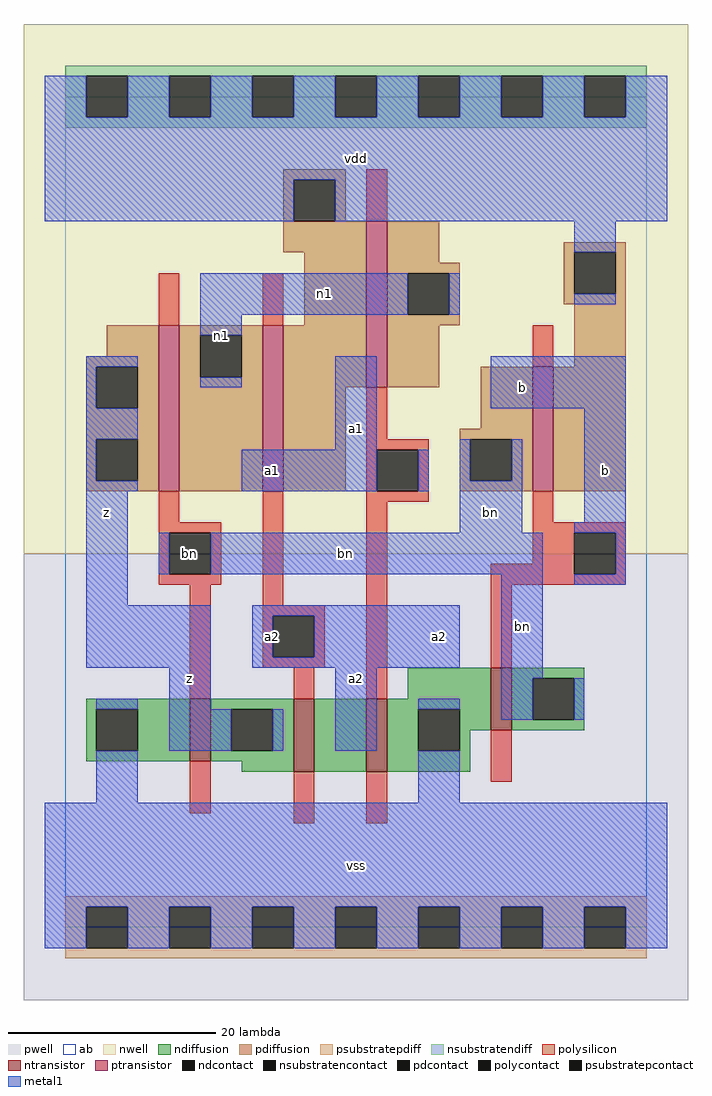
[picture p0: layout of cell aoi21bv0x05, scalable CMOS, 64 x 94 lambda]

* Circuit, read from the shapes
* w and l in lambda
.subckt aoi21bv0x05 a1 a2 b bn n1 vdd vss z
M1 z bn vss vss nfet w=6 l=2
M2 n2 a2 z vss nfet w=7 l=2
M3 vss a1 n2 vss nfet w=7 l=2
M4 bn b vss vss nfet w=6 l=2
M5 n1 bn z vdd pfet w=16 l=2
M6 vdd a2 n1 vdd pfet w=16 l=2
M7 n1 a1 vdd vdd pfet w=16 l=2
M8 vdd b bn vdd pfet w=12 l=2
.ends

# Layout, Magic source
magic
tech scmos
<< ab >>
rect 0 0 56 80
<< pwell >>
rect -4 -7 60 36
<< nwell >>
rect -4 36 60 87
<< polysilicon >>
rect 29 68 31 73
rect 9 58 11 63
rect 19 58 21 63
rect 45 54 47 58
rect 29 47 31 52
rect 29 46 35 47
rect 29 42 30 46
rect 34 42 35 46
rect 9 39 11 42
rect 9 38 15 39
rect 9 34 10 38
rect 14 34 15 38
rect 9 33 15 34
rect 12 22 14 33
rect 19 31 21 42
rect 29 41 35 42
rect 19 30 25 31
rect 19 26 20 30
rect 24 26 25 30
rect 19 25 25 26
rect 22 22 24 25
rect 29 22 31 41
rect 45 39 47 42
rect 45 38 54 39
rect 45 35 49 38
rect 41 34 49 35
rect 53 34 54 38
rect 41 33 54 34
rect 41 25 43 33
rect 12 11 14 16
rect 22 10 24 15
rect 29 10 31 15
rect 41 14 43 19
<< ndiffusion >>
rect 33 22 41 25
rect 2 21 12 22
rect 2 17 3 21
rect 7 17 12 21
rect 2 16 12 17
rect 14 21 22 22
rect 14 17 16 21
rect 20 17 22 21
rect 14 16 22 17
rect 17 15 22 16
rect 24 15 29 22
rect 31 21 41 22
rect 31 17 34 21
rect 38 19 41 21
rect 43 24 50 25
rect 43 20 45 24
rect 49 20 50 24
rect 43 19 50 20
rect 38 17 39 19
rect 31 15 39 17
<< pdiffusion >>
rect 21 72 27 73
rect 21 68 22 72
rect 26 68 27 72
rect 21 65 29 68
rect 23 58 29 65
rect 4 55 9 58
rect 2 54 9 55
rect 2 50 3 54
rect 7 50 9 54
rect 2 47 9 50
rect 2 43 3 47
rect 7 43 9 47
rect 2 42 9 43
rect 11 57 19 58
rect 11 53 13 57
rect 17 53 19 57
rect 11 42 19 53
rect 21 52 29 58
rect 31 64 36 68
rect 48 65 54 66
rect 31 63 38 64
rect 31 59 33 63
rect 37 59 38 63
rect 48 61 49 65
rect 53 61 54 65
rect 48 60 54 61
rect 31 58 38 59
rect 31 52 36 58
rect 49 54 54 60
rect 21 42 27 52
rect 40 48 45 54
rect 38 47 45 48
rect 38 43 39 47
rect 43 43 45 47
rect 38 42 45 43
rect 47 42 54 54
<< metal1 >>
rect -2 78 2 82
rect 6 78 10 82
rect 14 78 18 82
rect 22 78 26 82
rect 30 78 34 82
rect 38 78 42 82
rect 46 78 50 82
rect 54 78 58 82
rect -2 72 58 78
rect -2 68 22 72
rect 26 68 58 72
rect 49 65 53 68
rect 13 59 33 63
rect 37 59 38 63
rect 49 60 53 61
rect 13 57 17 59
rect 2 54 7 55
rect 2 50 3 54
rect 13 52 17 53
rect 2 47 7 50
rect 2 43 3 47
rect 26 46 30 55
rect 41 50 54 55
rect 2 42 7 43
rect 17 42 30 46
rect 34 42 35 46
rect 38 43 39 47
rect 43 43 44 47
rect 2 31 6 42
rect 38 38 44 43
rect 50 39 54 50
rect 49 38 54 39
rect 9 34 10 38
rect 14 34 46 38
rect 2 25 14 31
rect 18 30 38 31
rect 18 26 20 30
rect 24 26 38 30
rect 18 25 38 26
rect 3 21 7 22
rect 10 21 14 25
rect 10 17 16 21
rect 20 17 21 21
rect 26 17 30 25
rect 42 24 46 34
rect 53 34 54 38
rect 49 33 54 34
rect 34 21 38 22
rect 42 20 45 24
rect 49 20 50 24
rect 3 12 7 17
rect 34 12 38 17
rect -2 2 58 12
rect -2 -2 2 2
rect 6 -2 10 2
rect 14 -2 18 2
rect 22 -2 26 2
rect 30 -2 34 2
rect 38 -2 42 2
rect 46 -2 50 2
rect 54 -2 58 2
<< ntransistor >>
rect 12 16 14 22
rect 22 15 24 22
rect 29 15 31 22
rect 41 19 43 25
<< ptransistor >>
rect 9 42 11 58
rect 19 42 21 58
rect 29 52 31 68
rect 45 42 47 54
<< polycontact >>
rect 30 42 34 46
rect 10 34 14 38
rect 20 26 24 30
rect 49 34 53 38
<< ndcontact >>
rect 3 17 7 21
rect 16 17 20 21
rect 34 17 38 21
rect 45 20 49 24
<< pdcontact >>
rect 22 68 26 72
rect 3 50 7 54
rect 3 43 7 47
rect 13 53 17 57
rect 33 59 37 63
rect 49 61 53 65
rect 39 43 43 47
<< psubstratepcontact >>
rect 2 -2 6 2
rect 10 -2 14 2
rect 18 -2 22 2
rect 26 -2 30 2
rect 34 -2 38 2
rect 42 -2 46 2
rect 50 -2 54 2
<< nsubstratencontact >>
rect 2 78 6 82
rect 10 78 14 82
rect 18 78 22 82
rect 26 78 30 82
rect 34 78 38 82
rect 42 78 46 82
rect 50 78 54 82
<< psubstratepdiff >>
rect 0 2 56 3
rect 0 -2 2 2
rect 6 -2 10 2
rect 14 -2 18 2
rect 22 -2 26 2
rect 30 -2 34 2
rect 38 -2 42 2
rect 46 -2 50 2
rect 54 -2 56 2
rect 0 -3 56 -2
<< nsubstratendiff >>
rect 0 82 56 83
rect 0 78 2 82
rect 6 78 10 82
rect 14 78 18 82
rect 22 78 26 82
rect 30 78 34 82
rect 38 78 42 82
rect 46 78 50 82
rect 54 78 56 82
rect 0 77 56 78
<< labels >>
rlabel polycontact 12 36 12 36 6 bn
rlabel metal1 4 40 4 40 6 z
rlabel metal1 12 24 12 24 6 z
rlabel metal1 15 57 15 57 6 n1
rlabel metal1 28 6 28 6 6 vss
rlabel metal1 20 28 20 28 6 a2
rlabel metal1 28 24 28 24 6 a2
rlabel metal1 20 44 20 44 6 a1
rlabel metal1 28 48 28 48 6 a1
rlabel metal1 28 74 28 74 6 vdd
rlabel metal1 36 28 36 28 6 a2
rlabel metal1 44 29 44 29 6 bn
rlabel metal1 27 36 27 36 6 bn
rlabel metal1 41 40 41 40 6 bn
rlabel metal1 44 52 44 52 6 b
rlabel metal1 25 61 25 61 6 n1
rlabel metal1 52 44 52 44 6 b
<< end >>
